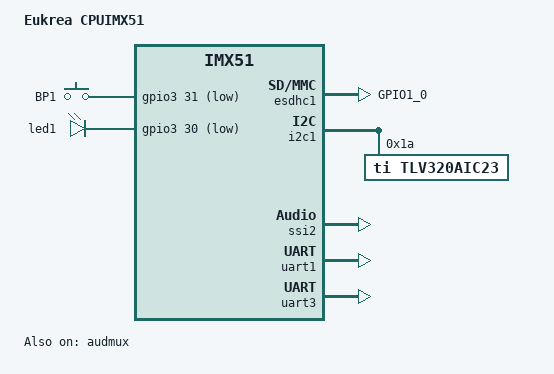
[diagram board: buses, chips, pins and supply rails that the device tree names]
/*
 * Copyright 2013 Eukréa Electromatique <denis@eukrea.com>
 *
 * This program is free software; you can redistribute it and/or
 * modify it under the terms of the GNU General Public License
 * as published by the Free Software Foundation; either version 2
 * of the License, or (at your option) any later version.
 * This program is distributed in the hope that it will be useful,
 * but WITHOUT ANY WARRANTY; without even the implied warranty of
 * MERCHANTABILITY or FITNESS FOR A PARTICULAR PURPOSE.  See the
 * GNU General Public License for more details.
 *
 * You should have received a copy of the GNU General Public License
 * along with this program; if not, write to the Free Software
 * Foundation, Inc., 51 Franklin Street, Fifth Floor, Boston,
 * MA 02110-1301, USA.
 */

/dts-v1/;
#include "imx51-eukrea-cpuimx51.dtsi"

/ {
	model = "Eukrea CPUIMX51";
	compatible = "eukrea,mbimxsd51","eukrea,cpuimx51", "fsl,imx51";

	gpio_keys {
		compatible = "gpio-keys";
		pinctrl-names = "default";
		pinctrl-0 = <&pinctrl_gpiokeys_1>;

		button-1 {
			label = "BP1";
			gpios = <&gpio3 31 1>;
			linux,code = <256>;
			gpio-key,wakeup;
			linux,input-type = <1>;
		};
	};

	leds {
		compatible = "gpio-leds";
		pinctrl-names = "default";
		pinctrl-0 = <&pinctrl_gpioled>;

		led1 {
			label = "led1";
			gpios = <&gpio3 30 1>;
			linux,default-trigger = "heartbeat";
		};
	};
};

&audmux {
	pinctrl-names = "default";
	pinctrl-0 = <&pinctrl_audmux_1>;
	status = "okay";
};

&esdhc1 {
	pinctrl-names = "default";
	pinctrl-0 = <&pinctrl_esdhc1_1 &pinctrl_esdhc1_cd>;
	fsl,cd-controller;
	status = "okay";
};

&i2c1 {
	tlv320aic23: codec@1a {
		compatible = "ti,tlv320aic23";
		reg = <0x1a>;
	};
};

&iomuxc {
	backlight {
		pinctrl_backlight_1: backlightgrp-1 {
			fsl,pins = <
				MX51_PAD_DI1_D1_CS__GPIO3_4 0x1f5
			>;
		};
	};

	esdhc1 {
		pinctrl_esdhc1_cd: esdhc1_cd {
			fsl,pins = <
				MX51_PAD_GPIO1_0__SD1_CD 0x20d5
			>;
		};
	};

	gpio-keys {
		pinctrl_gpiokeys_1: gpiokeysgrp-1 {
			fsl,pins = <
				MX51_PAD_NANDF_D9__GPIO3_31 0x1f5
			>;
		};
	};

	leds {
		pinctrl_gpioled: gpioledgrp-1 {
			fsl,pins = <
				MX51_PAD_NANDF_D10__GPIO3_30 0x80000000
			>;
		};
	};

	reg_lcd_3v3 {
		pinctrl_reg_lcd_3v3: reg_lcd_3v3 {
			fsl,pins = <
				MX51_PAD_CSI1_D9__GPIO3_13 0x1f5
			>;
		};
	};
};

&ssi2 {
	fsl,mode = "i2s-slave";
	status = "okay";
};

&uart1 {
	pinctrl-names = "default";
	pinctrl-0 = <&pinctrl_uart1_1>;
	fsl,uart-has-rtscts;
	status = "okay";
};

&uart3 {
	pinctrl-names = "default";
	pinctrl-0 = <&pinctrl_uart3_2 &pinctrl_uart3_rtscts_2>;
	fsl,uart-has-rtscts;
	status = "okay";
};
